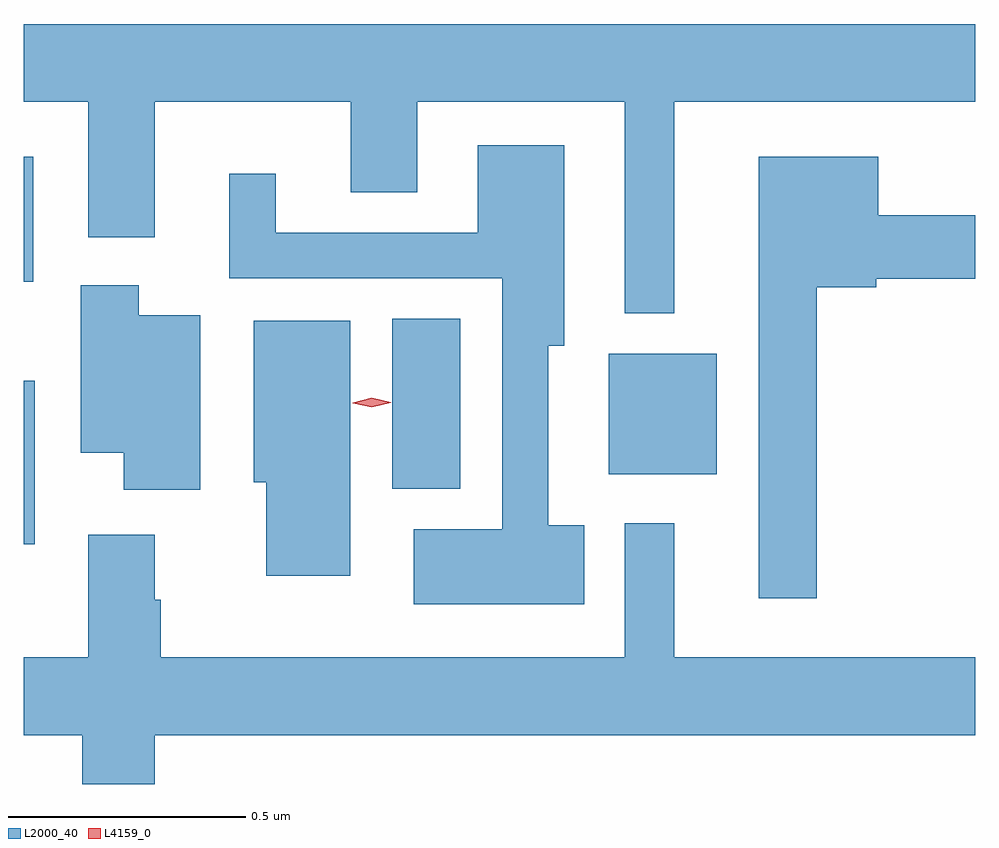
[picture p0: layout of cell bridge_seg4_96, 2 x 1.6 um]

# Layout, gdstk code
import gdstk
lib = gdstk.Library(unit=1e-6, precision=1e-09)
def R(c, l, rs):  # rectangles x0, y0, x1, y1
    for r in rs: c.add(gdstk.rectangle(r[:2], r[2:], *l))
def P(c, l, *ps):  # polygons
    for p in ps: c.add(gdstk.Polygon(p, *l))
L2000_40 = (2000, 40)
L4159_0 = (4159, 0)

bridge_seg4_96 = lib.new_cell('bridge_seg4_96')
R(bridge_seg4_96, L2000_40, [(456.506,798.554,456.529,798.898), (457.28,798.671,457.423,799.028), (457.736,798.701,457.963,798.955), (456.506,799.106,456.526,799.369)])
P(bridge_seg4_96, L2000_40, [(457.873,799.484),(458.506,799.484),(458.506,799.648),(456.506,799.648),(456.506,799.484),(456.641,799.484),(456.641,799.2),(456.781,799.2),(456.781,799.484),(457.193,799.484),(457.193,799.294),(457.333,799.294),(457.333,799.484),(457.769,799.484),(457.769,799.04),(457.873,799.04)],
  [(457.684,798.594),(457.608,798.594),(457.608,798.971),(457.642,798.971),(457.642,799.393),(457.46,799.393),(457.46,799.209),(457.036,799.209),(457.036,799.333),(456.938,799.333),(456.938,799.113),(457.512,799.113),(457.512,798.586),(457.326,798.586),(457.326,798.428),(457.684,798.428)],
  [(458.173,799.094),(458.298,799.094),(458.298,799.112),(458.506,799.112),(458.506,799.246),(458.302,799.246),(458.302,799.369),(458.051,799.369),(458.051,798.441),(458.173,798.441)],
  [(456.877,799.036),(456.748,799.036),(456.748,799.099),(456.626,799.099),(456.626,798.746),(456.716,798.746),(456.716,798.669),(456.877,798.669)],
  [(457.192,799.024),(456.989,799.024),(456.989,798.684),(457.016,798.684),(457.016,798.488),(457.192,798.488)],
  [(456.781,798.152),(458.506,798.152),(458.506,798.316),(457.873,798.316),(457.873,798.598),(457.769,798.598),(457.769,798.316),(456.794,798.316),(456.794,798.437),(456.781,798.437),(456.781,798.574),(456.641,798.574),(456.641,798.316),(456.506,798.316),(456.506,798.152),(456.629,798.152),(456.629,798.05),(456.781,798.05)])
P(bridge_seg4_96, L4159_0, [(457.237,798.842),(457.197,798.851),(457.197,798.852),(457.197,798.852),(457.237,798.862),(457.277,798.853),(457.277,798.853),(457.277,798.852)])

lib.write_gds('bridge_seg4_96.gds')
